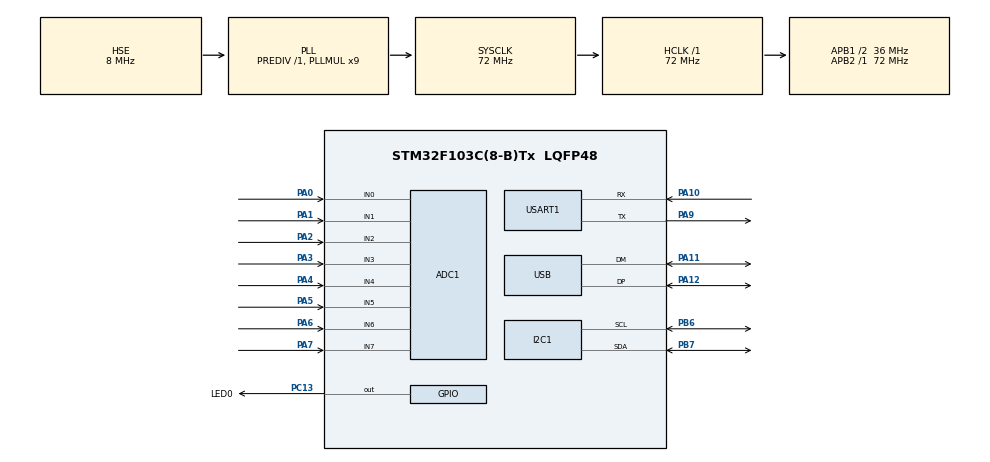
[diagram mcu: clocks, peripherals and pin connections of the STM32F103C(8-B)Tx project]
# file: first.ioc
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ADC1.Channel-0\#ChannelRegularConversion=ADC_CHANNEL_0
ADC1.Channel-1\#ChannelRegularConversion=ADC_CHANNEL_1
ADC1.Channel-2\#ChannelRegularConversion=ADC_CHANNEL_2
ADC1.Channel-3\#ChannelRegularConversion=ADC_CHANNEL_3
ADC1.Channel-4\#ChannelRegularConversion=ADC_CHANNEL_4
ADC1.Channel-5\#ChannelRegularConversion=ADC_CHANNEL_5
ADC1.Channel-6\#ChannelRegularConversion=ADC_CHANNEL_6
ADC1.Channel-7\#ChannelRegularConversion=ADC_CHANNEL_7
ADC1.NbrOfConversion=8
ADC1.NbrOfConversionFlag=1
ADC1.Rank-0\#ChannelRegularConversion=1
ADC1.Rank-1\#ChannelRegularConversion=2
ADC1.Rank-2\#ChannelRegularConversion=3
ADC1.Rank-3\#ChannelRegularConversion=4
ADC1.Rank-4\#ChannelRegularConversion=5
ADC1.Rank-5\#ChannelRegularConversion=6
ADC1.Rank-6\#ChannelRegularConversion=7
ADC1.Rank-7\#ChannelRegularConversion=8
ADC1.SamplingTime-0\#ChannelRegularConversion=ADC_SAMPLETIME_1CYCLE_5
ADC1.SamplingTime-1\#ChannelRegularConversion=ADC_SAMPLETIME_1CYCLE_5
ADC1.SamplingTime-2\#ChannelRegularConversion=ADC_SAMPLETIME_1CYCLE_5
ADC1.SamplingTime-3\#ChannelRegularConversion=ADC_SAMPLETIME_1CYCLE_5
ADC1.SamplingTime-4\#ChannelRegularConversion=ADC_SAMPLETIME_1CYCLE_5
ADC1.SamplingTime-5\#ChannelRegularConversion=ADC_SAMPLETIME_1CYCLE_5
ADC1.SamplingTime-6\#ChannelRegularConversion=ADC_SAMPLETIME_1CYCLE_5
ADC1.SamplingTime-7\#ChannelRegularConversion=ADC_SAMPLETIME_1CYCLE_5
ADC1.master=1
Dma.ADC1.0.Direction=DMA_PERIPH_TO_MEMORY
Dma.ADC1.0.Instance=DMA1_Channel1
Dma.ADC1.0.MemDataAlignment=DMA_MDATAALIGN_HALFWORD
Dma.ADC1.0.MemInc=DMA_MINC_ENABLE
Dma.ADC1.0.Mode=DMA_NORMAL
Dma.ADC1.0.PeriphDataAlignment=DMA_PDATAALIGN_HALFWORD
Dma.ADC1.0.PeriphInc=DMA_PINC_DISABLE
Dma.ADC1.0.Priority=DMA_PRIORITY_LOW
Dma.Request0=ADC1
I2C1.I2C_Mode=I2C_Fast
Mcu.Family=STM32F1
Mcu.Name=STM32F103C(8-B)Tx
Mcu.Package=LQFP48
NVIC.DMA1_Channel1_IRQn=true\:0\:0\:false\:false\:true\:false\:true\:true
NVIC.PriorityGroup=NVIC_PRIORITYGROUP_4
NVIC.USB_LP_CAN1_RX0_IRQn=true\:0\:0\:false\:false\:true\:false\:true\:true
PA0-WKUP.Signal=ADCx_IN0
PA1.Signal=ADCx_IN1
PA10.Mode=Asynchronous
PA10.Signal=USART1_RX
PA11.Mode=Device
PA11.Signal=USB_DM
PA12.Mode=Device
PA12.Signal=USB_DP
PA2.Signal=ADCx_IN2
PA3.Signal=ADCx_IN3
PA4.Signal=ADCx_IN4
PA5.Signal=ADCx_IN5
PA6.Signal=ADCx_IN6
PA7.Signal=ADCx_IN7
PA9.Mode=Asynchronous
PA9.Signal=USART1_TX
PB6.Mode=I2C
PB6.Signal=I2C1_SCL
PB7.Mode=I2C
PB7.Signal=I2C1_SDA
PC13-TAMPER-RTC.GPIO_Label=LED0
PC13-TAMPER-RTC.Signal=GPIO_Output
PC14-OSC32_IN.Mode=LSE-External-Oscillator
PC14-OSC32_IN.Signal=RCC_OSC32_IN
PC15-OSC32_OUT.Mode=LSE-External-Oscillator
PC15-OSC32_OUT.Signal=RCC_OSC32_OUT
PD0-OSC_IN.Mode=HSE-External-Oscillator
PD0-OSC_IN.Signal=RCC_OSC_IN
PD1-OSC_OUT.Mode=HSE-External-Oscillator
PD1-OSC_OUT.Signal=RCC_OSC_OUT
ProjectManager.HeapSize=0x200
ProjectManager.StackSize=0x400
ProjectManager.TargetToolchain=STM32CubeIDE
RCC.ADCPresc=RCC_ADCPCLK2_DIV6
RCC.AHBFreq_Value=72000000
RCC.APB1CLKDivider=RCC_HCLK_DIV2
RCC.APB1Freq_Value=36000000
RCC.APB1TimFreq_Value=72000000
RCC.APB2Freq_Value=72000000
RCC.APB2TimFreq_Value=72000000
RCC.HCLKFreq_Value=72000000
RCC.PLLMUL=RCC_PLL_MUL9
RCC.PLLSourceVirtual=RCC_PLLSOURCE_HSE
RCC.SYSCLKFreq_VALUE=72000000
RCC.SYSCLKSource=RCC_SYSCLKSOURCE_PLLCLK
RCC.USBFreq_Value=48000000
RCC.USBPrescaler=RCC_USBCLKSOURCE_PLL_DIV1_5
SH.ADCx_IN0.0=ADC1_IN0,IN0
SH.ADCx_IN1.0=ADC1_IN1,IN1
SH.ADCx_IN2.0=ADC1_IN2,IN2
SH.ADCx_IN3.0=ADC1_IN3,IN3
SH.ADCx_IN4.0=ADC1_IN4,IN4
SH.ADCx_IN5.0=ADC1_IN5,IN5
SH.ADCx_IN6.0=ADC1_IN6,IN6
SH.ADCx_IN7.0=ADC1_IN7,IN7
USART1.VirtualMode=VM_ASYNC
USB_DEVICE.CLASS_NAME_FS=CDC
USB_DEVICE.VirtualMode=Cdc
USB_DEVICE.VirtualModeFS=Cdc_FS
VP_SYS_VS_ND.Mode=No_Debug
VP_TIM1_VS_ClockSourceINT.Mode=Internal
VP_USB_DEVICE_VS_USB_DEVICE_CDC_FS.Mode=CDC_FS
board=custom

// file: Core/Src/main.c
/* USER CODE BEGIN Header */
/**
  ******************************************************************************
  * @file           : main.c
  * @brief          : Main program body
  ******************************************************************************
  * @attention
  *
  * Copyright (c) 2025 STMicroelectronics.
  * All rights reserved.
  *
  * This software is licensed under terms that can be found in the LICENSE file
  * in the root directory of this software component.
  * If no LICENSE file comes with this software, it is provided AS-IS.
  *
  *		uint8_t msg[] = "Hola desde el Black Pill por USB\r\n";
		CDC_Transmit_FS(msg, sizeof(msg) - 1);
  *
  ******************************************************************************
  */
/* USER CODE END Header */
#include "main.h"
#include "usb_device.h"
#include "fonts.h"
//#include "SH1106.h"
#include  "ssd1306.h"

/* USER CODE BEGIN PTD */
typedef union{
	uint32_t u32;
	int32_t  i32;
	uint16_t u16[2];
	int16_t i16[2];
	uint8_t u8[4];
	int8_t i8[4];
}_u4bytes;
/* USER CODE END PTD */

ADC_HandleTypeDef hadc1;
DMA_HandleTypeDef hdma_adc1;

I2C_HandleTypeDef hi2c1;

TIM_HandleTypeDef htim1;

UART_HandleTypeDef huart1;

/* USER CODE BEGIN PV */
uint16_t 	bufferADC[8];
uint8_t 	bufferTX[32];
uint8_t 	iWtx, iRtx;
_u4bytes 	variable;
uint32_t 	ticker;

uint32_t adc_valores[8];  // Buffer para los 8 canales
char usb_buffer[128];
/* USER CODE END PV */

void SystemClock_Config(void);
static void MX_GPIO_Init(void);
static void MX_DMA_Init(void);
static void MX_ADC1_Init(void);
static void MX_TIM1_Init(void);
static void MX_USART1_UART_Init(void);
static void MX_I2C1_Init(void);

/* USER CODE BEGIN 0 */

void HAL_ADC_ConvCpltCallback(ADC_HandleTypeDef* hadc) {
    if (hadc->Instance == ADC1) {
        // Formatear todos los valores leídos
        int len = sprintf(usb_buffer,
            "|PA0: %lu \n| PA1: %lu \n| PA2: %lu \n| PA3: %lu \n| PA4: %lu \n| PA5: %lu \n| PA6: %lu \n| PA7: %lu\r\n\n\n",
            adc_valores[0], adc_valores[1], adc_valores[2], adc_valores[3],
            adc_valores[4], adc_valores[5], adc_valores[6], adc_valores[7]
        );
        CDC_Transmit_FS((uint8_t*)usb_buffer, len);
        // Reiniciar conversión
        HAL_ADC_Start_DMA(&hadc1, adc_valores, 8);
    }
}
/*void HAL_ADC_ConvCpltCallback(ADC_HandleTypeDef* hadc){
 *
	// Formatear el mensaje cuando el DMA termina
	for(int i=0; i<8; i++){
		variable.u16[0] = bufferADC[i];
		bufferTX[iWtx++] = variable.u8[0];
		bufferTX[iWtx++] = variable.u8[1];
	}
	HAL_UART_Transmit(&huart1,(uint8_t *) bufferTX[iRtx], 32, 100);
}*/
/* USER CODE END 0 */

int main(void)
{

  /* MCU Configuration--------------------------------------------------------*/

  /* Reset of all peripherals, Initializes the Flash interface and the Systick. */
  HAL_Init();

  /* Configure the system clock */
  SystemClock_Config();

  /* Initialize all configured peripherals */
  MX_GPIO_Init();
  MX_DMA_Init();
  MX_ADC1_Init();
  MX_TIM1_Init();
  MX_USART1_UART_Init();
  MX_USB_DEVICE_Init();
  MX_I2C1_Init();
  SSD1306_Init();

  /* USER CODE BEGIN 2 */
 // HAL_ADC_Start_DMA(&hadc1, pData, Length);		//Esto inicia la conversion
  //HAL_ADC_Start_DMA(&hadc1, pData, Length);		//Esto inicia la conversion
  ticker = HAL_GetTick();
  HAL_GPIO_TogglePin(GPIOC, LED0_Pin);
 // char msg[] = "Hola mundo\r\n";
 // HAL_ADC_Start_DMA(&hadc1, adc_valores, 8);

/*

  SSD1306_GotoXY(10, 10);
  SSD1306_Putc("pablo", &Font_7x10 , 1);
  SSD1306_GotoXY(10, 30);
  SSD1306_Puts("se la come", &Font_7x10 , 1);
  SSD1306_UpdateScreen();

  */
  /* Mandar datos por uart
   	   	   char cadena[4] = {"hola"};
  	  	   HAL_UART_Transmit(&huart1, cadena, 4, 100);
   */
  /* USER CODE END 2 */

  /* Infinite loop */
  while (1)
  {

    /* USER CODE BEGIN 3 */
	   if (HAL_GetTick() - ticker >= 500){ //ticker 1000ms
		  ticker = HAL_GetTick();
		  HAL_GPIO_TogglePin(GPIOC, LED0_Pin);

		 // char cadena[] = "Pablo se la come";

		//  HAL_ADC_Start_IT(&hadc1);			ACTIVAR ESTO PARA QUE ANDE EL ADC

		//  CDC_Transmit_FS((uint8_t*)msg, sizeof msg);
	   }
	  //HAL_Delay(5000);
  }
  /* USER CODE END 3 */
}

void SystemClock_Config(void)
{
  RCC_OscInitTypeDef RCC_OscInitStruct = {0};
  RCC_ClkInitTypeDef RCC_ClkInitStruct = {0};
  RCC_PeriphCLKInitTypeDef PeriphClkInit = {0};

  /** Initializes the RCC Oscillators according to the specified parameters
  * in the RCC_OscInitTypeDef structure.
  */
  RCC_OscInitStruct.OscillatorType = RCC_OSCILLATORTYPE_HSE;
  RCC_OscInitStruct.HSEState = RCC_HSE_ON;
  RCC_OscInitStruct.HSEPredivValue = RCC_HSE_PREDIV_DIV1;
  RCC_OscInitStruct.HSIState = RCC_HSI_ON;
  RCC_OscInitStruct.PLL.PLLState = RCC_PLL_ON;
  RCC_OscInitStruct.PLL.PLLSource = RCC_PLLSOURCE_HSE;
  RCC_OscInitStruct.PLL.PLLMUL = RCC_PLL_MUL9;
  if (HAL_RCC_OscConfig(&RCC_OscInitStruct) != HAL_OK)
  {
    Error_Handler();
  }

  /** Initializes the CPU, AHB and APB buses clocks
  */
  RCC_ClkInitStruct.ClockType = RCC_CLOCKTYPE_HCLK|RCC_CLOCKTYPE_SYSCLK
                              |RCC_CLOCKTYPE_PCLK1|RCC_CLOCKTYPE_PCLK2;
  RCC_ClkInitStruct.SYSCLKSource = RCC_SYSCLKSOURCE_PLLCLK;
  RCC_ClkInitStruct.AHBCLKDivider = RCC_SYSCLK_DIV1;
  RCC_ClkInitStruct.APB1CLKDivider = RCC_HCLK_DIV2;
  RCC_ClkInitStruct.APB2CLKDivider = RCC_HCLK_DIV1;

  if (HAL_RCC_ClockConfig(&RCC_ClkInitStruct, FLASH_LATENCY_2) != HAL_OK)
  {
    Error_Handler();
  }
  PeriphClkInit.PeriphClockSelection = RCC_PERIPHCLK_ADC|RCC_PERIPHCLK_USB;
  PeriphClkInit.AdcClockSelection = RCC_ADCPCLK2_DIV6;
  PeriphClkInit.UsbClockSelection = RCC_USBCLKSOURCE_PLL_DIV1_5;
  if (HAL_RCCEx_PeriphCLKConfig(&PeriphClkInit) != HAL_OK)
  {
    Error_Handler();
  }
}

static void MX_ADC1_Init(void)
{

  ADC_ChannelConfTypeDef sConfig = {0};

  /** Common config
  */
  hadc1.Instance = ADC1;
  hadc1.Init.ScanConvMode = ADC_SCAN_ENABLE;
  hadc1.Init.ContinuousConvMode = DISABLE;
  hadc1.Init.DiscontinuousConvMode = DISABLE;
  hadc1.Init.ExternalTrigConv = ADC_SOFTWARE_START;
  hadc1.Init.DataAlign = ADC_DATAALIGN_RIGHT;
  hadc1.Init.NbrOfConversion = 8;
  if (HAL_ADC_Init(&hadc1) != HAL_OK)
  {
    Error_Handler();
  }

  /** Configure Regular Channel
  */
  sConfig.Channel = ADC_CHANNEL_0;
  sConfig.Rank = ADC_REGULAR_RANK_1;
  sConfig.SamplingTime = ADC_SAMPLETIME_1CYCLE_5;
  if (HAL_ADC_ConfigChannel(&hadc1, &sConfig) != HAL_OK)
  {
    Error_Handler();
  }

  /** Configure Regular Channel
  */
  sConfig.Channel = ADC_CHANNEL_1;
  sConfig.Rank = ADC_REGULAR_RANK_2;
  if (HAL_ADC_ConfigChannel(&hadc1, &sConfig) != HAL_OK)
  {
    Error_Handler();
  }

  /** Configure Regular Channel
  */
  sConfig.Channel = ADC_CHANNEL_2;
  sConfig.Rank = ADC_REGULAR_RANK_3;
  if (HAL_ADC_ConfigChannel(&hadc1, &sConfig) != HAL_OK)
  {
    Error_Handler();
  }

  /** Configure Regular Channel
  */
  sConfig.Channel = ADC_CHANNEL_3;
  sConfig.Rank = ADC_REGULAR_RANK_4;
  if (HAL_ADC_ConfigChannel(&hadc1, &sConfig) != HAL_OK)
  {
    Error_Handler();
  }

  /** Configure Regular Channel
  */
  sConfig.Channel = ADC_CHANNEL_4;
  sConfig.Rank = ADC_REGULAR_RANK_5;
  if (HAL_ADC_ConfigChannel(&hadc1, &sConfig) != HAL_OK)
  {
    Error_Handler();
  }

  /** Configure Regular Channel
  */
  sConfig.Channel = ADC_CHANNEL_5;
  sConfig.Rank = ADC_REGULAR_RANK_6;
  if (HAL_ADC_ConfigChannel(&hadc1, &sConfig) != HAL_OK)
  {
    Error_Handler();
  }

  /** Configure Regular Channel
  */
  sConfig.Channel = ADC_CHANNEL_6;
  sConfig.Rank = ADC_REGULAR_RANK_7;
  if (HAL_ADC_ConfigChannel(&hadc1, &sConfig) != HAL_OK)
  {
    Error_Handler();
  }

  /** Configure Regular Channel
  */
  sConfig.Channel = ADC_CHANNEL_7;
  sConfig.Rank = ADC_REGULAR_RANK_8;
  if (HAL_ADC_ConfigChannel(&hadc1, &sConfig) != HAL_OK)
  {
    Error_Handler();
  }

}

static void MX_I2C1_Init(void)
{

  hi2c1.Instance = I2C1;
  hi2c1.Init.ClockSpeed = 400000;
  hi2c1.Init.DutyCycle = I2C_DUTYCYCLE_2;
  hi2c1.Init.OwnAddress1 = 0;
  hi2c1.Init.AddressingMode = I2C_ADDRESSINGMODE_7BIT;
  hi2c1.Init.DualAddressMode = I2C_DUALADDRESS_DISABLE;
  hi2c1.Init.OwnAddress2 = 0;
  hi2c1.Init.GeneralCallMode = I2C_GENERALCALL_DISABLE;
  hi2c1.Init.NoStretchMode = I2C_NOSTRETCH_DISABLE;
  if (HAL_I2C_Init(&hi2c1) != HAL_OK)
  {
    Error_Handler();
  }

}

static void MX_TIM1_Init(void)
{

  TIM_ClockConfigTypeDef sClockSourceConfig = {0};
  TIM_MasterConfigTypeDef sMasterConfig = {0};

  htim1.Instance = TIM1;
  htim1.Init.Prescaler = 0;
  htim1.Init.CounterMode = TIM_COUNTERMODE_UP;
  htim1.Init.Period = 65535;
  htim1.Init.ClockDivision = TIM_CLOCKDIVISION_DIV1;
  htim1.Init.RepetitionCounter = 0;
  htim1.Init.AutoReloadPreload = TIM_AUTORELOAD_PRELOAD_DISABLE;
  if (HAL_TIM_Base_Init(&htim1) != HAL_OK)
  {
    Error_Handler();
  }
  sClockSourceConfig.ClockSource = TIM_CLOCKSOURCE_INTERNAL;
  if (HAL_TIM_ConfigClockSource(&htim1, &sClockSourceConfig) != HAL_OK)
  {
    Error_Handler();
  }
  sMasterConfig.MasterOutputTrigger = TIM_TRGO_RESET;
  sMasterConfig.MasterSlaveMode = TIM_MASTERSLAVEMODE_DISABLE;
  if (HAL_TIMEx_MasterConfigSynchronization(&htim1, &sMasterConfig) != HAL_OK)
  {
    Error_Handler();
  }

}

static void MX_USART1_UART_Init(void)
{

  huart1.Instance = USART1;
  huart1.Init.BaudRate = 115200;
  huart1.Init.WordLength = UART_WORDLENGTH_8B;
  huart1.Init.StopBits = UART_STOPBITS_1;
  huart1.Init.Parity = UART_PARITY_NONE;
  huart1.Init.Mode = UART_MODE_TX_RX;
  huart1.Init.HwFlowCtl = UART_HWCONTROL_NONE;
  huart1.Init.OverSampling = UART_OVERSAMPLING_16;
  if (HAL_UART_Init(&huart1) != HAL_OK)
  {
    Error_Handler();
  }

}

static void MX_DMA_Init(void)
{

  /* DMA controller clock enable */
  __HAL_RCC_DMA1_CLK_ENABLE();

  /* DMA interrupt init */
  /* DMA1_Channel1_IRQn interrupt configuration */
  HAL_NVIC_SetPriority(DMA1_Channel1_IRQn, 0, 0);
  HAL_NVIC_EnableIRQ(DMA1_Channel1_IRQn);

}

static void MX_GPIO_Init(void)
{
  GPIO_InitTypeDef GPIO_InitStruct = {0};

  /* GPIO Ports Clock Enable */
  __HAL_RCC_GPIOC_CLK_ENABLE();
  __HAL_RCC_GPIOD_CLK_ENABLE();
  __HAL_RCC_GPIOA_CLK_ENABLE();
  __HAL_RCC_GPIOB_CLK_ENABLE();

  /*Configure GPIO pin Output Level */
  HAL_GPIO_WritePin(LED0_GPIO_Port, LED0_Pin, GPIO_PIN_RESET);

  /*Configure GPIO pin : LED0_Pin */
  GPIO_InitStruct.Pin = LED0_Pin;
  GPIO_InitStruct.Mode = GPIO_MODE_OUTPUT_PP;
  GPIO_InitStruct.Pull = GPIO_NOPULL;
  GPIO_InitStruct.Speed = GPIO_SPEED_FREQ_LOW;
  HAL_GPIO_Init(LED0_GPIO_Port, &GPIO_InitStruct);

}

void Error_Handler(void)
{
  __disable_irq();
  while (1)
  {
  }
}
